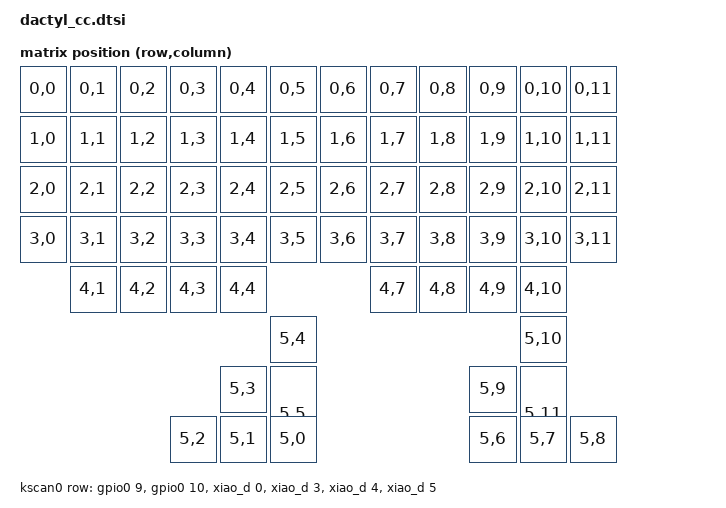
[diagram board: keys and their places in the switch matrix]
//#include <dt-bindings/zmk/matrix_transform.h>
//
/// {
//    chosen {
//        zmk,kscan = &kscan0;
//        zmk,matrix_transform = &default_transform;
//    };
//
//    default_transform: keymap_transform_0 {
//        compatible = "zmk,matrix-transform";
//        columns = <12>;
//        rows = <6>;
//// | MX1  | MX2  | MX3  | MX4  | MX5  | MX6  |                 | MX7  | MX8  | MX9  | MX10 | MX11 | MX12 |
//// | MX13 | MX14 | MX15 | MX16 | MX17 | MX18 |                 | MX19 | MX20 | MX21 | MX22 | MX23 | MX24 |
//// | MX25 | MX26 | MX27 | MX28 | MX29 | MX30 |                 | MX31 | MX32 | MX33 | MX34 | MX35 | MX36 |
//// | MX37 | MX38 | MX39 | MX40 | MX41 | MX42 |                 | MX43 | MX44 | MX45 | MX46 | MX47 | MX48 |
////        | MX49 | MX50 | MX51 | MX52 |                               | MX53 | MX54 | MX55 | MX56 |
////                                    | MX57 | MX58 |   | MX59 | MX60 |
////                                           | MX61 |   | MX62 |
////                             | MX63 | MX64 | MX65 |   | MX66 | MX67 | MX68 |
//        map = <
//RC(0,0) RC(0,1) RC(0,2) RC(0,3) RC(0,4) RC(0,5)                   RC(0,11) RC(0,10) RC(0,9) RC(0,8) RC(0,7) RC(0,6)
//RC(1,0) RC(1,1) RC(1,2) RC(1,3) RC(1,4) RC(1,5)                   RC(1,11) RC(1,10) RC(1,9) RC(1,8) RC(1,7) RC(1,6)
//RC(2,0) RC(2,1) RC(2,2) RC(2,3) RC(2,4) RC(2,5)                   RC(2,11) RC(2,10) RC(2,9) RC(2,8) RC(2,7) RC(2,6)
//RC(3,0) RC(3,1) RC(3,2) RC(3,3) RC(3,4) RC(3,5)                   RC(3,11) RC(3,10) RC(3,9) RC(3,8) RC(3,7) RC(3,6)
//        RC(4,1) RC(4,2) RC(4,3) RC(4,4)                                    RC(4,10) RC(4,9) RC(4,8) RC(4,7)
//                                        RC(5,4) RC(5,5)  RC(5,11) RC(5,10)
//                                                RC(5,3)  RC(5,9)
//                                RC(5,2) RC(5,1) RC(5,0)  RC(5,6)  RC(5,7) RC(5,8)
//        >;
//    };
//
//    kscan0: kscan {
//      compatible = "zmk,kscan-gpio-matrix";
//      wakeup-source;
//
//      diode-direction = "col2row";
//      row-gpios
//        = <&gpio0 9  (GPIO_ACTIVE_HIGH | GPIO_PULL_DOWN)>  // Row 0 — NFC1 pin as GPIO
//        , <&gpio0 10 (GPIO_ACTIVE_HIGH | GPIO_PULL_DOWN)>  // Row 1 — NFC2 pin as GPIO
//        , <&xiao_d 0 (GPIO_ACTIVE_HIGH | GPIO_PULL_DOWN)>  // Row 2 — D0
//        , <&xiao_d 3 (GPIO_ACTIVE_HIGH | GPIO_PULL_DOWN)>  // Row 3 — D3
//        , <&xiao_d 4 (GPIO_ACTIVE_HIGH | GPIO_PULL_DOWN)>  // Row 4 — D4
//        , <&xiao_d 5 (GPIO_ACTIVE_HIGH | GPIO_PULL_DOWN)>  // Row 5 — D5
//        ;
//    };
//};

#include <dt-bindings/zmk/matrix_transform.h>
#include <physical_layouts.dtsi>

/ {
    chosen {
        zmk,kscan = &kscan0;
        zmk,matrix_transform = &default_transform;
        zmk,physical-layout = &physical_layout0;
    };

    default_transform: keymap_transform_0 {
        compatible = "zmk,matrix-transform";
        columns = <12>;
        rows = <6>;
// | MX1  | MX2  | MX3  | MX4  | MX5  | MX6  |                 | MX7  | MX8  | MX9  | MX10 | MX11 | MX12 |
// | MX13 | MX14 | MX15 | MX16 | MX17 | MX18 |                 | MX19 | MX20 | MX21 | MX22 | MX23 | MX24 |
// | MX25 | MX26 | MX27 | MX28 | MX29 | MX30 |                 | MX31 | MX32 | MX33 | MX34 | MX35 | MX36 |
// | MX37 | MX38 | MX39 | MX40 | MX41 | MX42 |                 | MX43 | MX44 | MX45 | MX46 | MX47 | MX48 |
//        | MX49 | MX50 | MX51 | MX52 |                               | MX53 | MX54 | MX55 | MX56 |
//                                    | MX57 | MX58 |   | MX59 | MX60 |
//                                           | MX61 |   | MX62 |
//                             | MX63 | MX64 | MX65 |   | MX66 | MX67 | MX68 |
        map = <
RC(0,0) RC(0,1) RC(0,2) RC(0,3) RC(0,4) RC(0,5)                   RC(0,11) RC(0,10) RC(0,9) RC(0,8) RC(0,7) RC(0,6)
RC(1,0) RC(1,1) RC(1,2) RC(1,3) RC(1,4) RC(1,5)                   RC(1,11) RC(1,10) RC(1,9) RC(1,8) RC(1,7) RC(1,6)
RC(2,0) RC(2,1) RC(2,2) RC(2,3) RC(2,4) RC(2,5)                   RC(2,11) RC(2,10) RC(2,9) RC(2,8) RC(2,7) RC(2,6)
RC(3,0) RC(3,1) RC(3,2) RC(3,3) RC(3,4) RC(3,5)                   RC(3,11) RC(3,10) RC(3,9) RC(3,8) RC(3,7) RC(3,6)
        RC(4,1) RC(4,2) RC(4,3) RC(4,4)                                    RC(4,10) RC(4,9) RC(4,8) RC(4,7)
                                        RC(5,4) RC(5,5)  RC(5,11) RC(5,10)
                                                RC(5,3)  RC(5,9)
                                RC(5,2) RC(5,1) RC(5,0)  RC(5,6)  RC(5,7) RC(5,8)
        >;
    };

    kscan0: kscan {
        compatible = "zmk,kscan-gpio-matrix";
        wakeup-source;

        diode-direction = "col2row";
        row-gpios
            = <&gpio0 9  (GPIO_ACTIVE_HIGH | GPIO_PULL_DOWN)>  // Row 0 — NFC1 pin as GPIO
            , <&gpio0 10 (GPIO_ACTIVE_HIGH | GPIO_PULL_DOWN)>  // Row 1 — NFC2 pin as GPIO
            , <&xiao_d 0 (GPIO_ACTIVE_HIGH | GPIO_PULL_DOWN)>  // Row 2 — D0
            , <&xiao_d 3 (GPIO_ACTIVE_HIGH | GPIO_PULL_DOWN)>  // Row 3 — D3
            , <&xiao_d 4 (GPIO_ACTIVE_HIGH | GPIO_PULL_DOWN)>  // Row 4 — D4
            , <&xiao_d 5 (GPIO_ACTIVE_HIGH | GPIO_PULL_DOWN)>  // Row 5 — D5
            ;
    };

    physical_layout0: physical_layout_0 {
        compatible = "zmk,physical-layout";
        display-name = "Default Layout";
        transform = <&default_transform>;
        kscan = <&kscan0>;

        keys  //                     w    h      x     y    rot   rx   ry
            // Row 0 - Left (RC(0,0)–RC(0,5)) — L00 to L05
            = <&key_physical_attrs 100  100      0     0      0    0    0>  // L00
            , <&key_physical_attrs 100  100    100     0      0    0    0>  // L01
            , <&key_physical_attrs 100  100    200     0      0    0    0>  // L02
            , <&key_physical_attrs 100  100    300     0      0    0    0>  // L03
            , <&key_physical_attrs 100  100    400     0      0    0    0>  // L04
            , <&key_physical_attrs 100  100    500     0      0    0    0>  // L05
            // Row 0 - Right (RC(0,11)–RC(0,6)) — R00 to R05, mirrored
            , <&key_physical_attrs 100  100   1100     0      0    0    0>  // R00
            , <&key_physical_attrs 100  100   1000     0      0    0    0>  // R01
            , <&key_physical_attrs 100  100    900     0      0    0    0>  // R02
            , <&key_physical_attrs 100  100    800     0      0    0    0>  // R03
            , <&key_physical_attrs 100  100    700     0      0    0    0>  // R04
            , <&key_physical_attrs 100  100    600     0      0    0    0>  // R05
            // Row 1 - Left (RC(1,0)–RC(1,5))
            , <&key_physical_attrs 100  100      0   100      0    0    0>  // L10
            , <&key_physical_attrs 100  100    100   100      0    0    0>  // L11
            , <&key_physical_attrs 100  100    200   100      0    0    0>  // L12
            , <&key_physical_attrs 100  100    300   100      0    0    0>  // L13
            , <&key_physical_attrs 100  100    400   100      0    0    0>  // L14
            , <&key_physical_attrs 100  100    500   100      0    0    0>  // L15
            // Row 1 - Right (RC(1,11)–RC(1,6))
            , <&key_physical_attrs 100  100   1100   100      0    0    0>  // R10
            , <&key_physical_attrs 100  100   1000   100      0    0    0>  // R11
            , <&key_physical_attrs 100  100    900   100      0    0    0>  // R12
            , <&key_physical_attrs 100  100    800   100      0    0    0>  // R13
            , <&key_physical_attrs 100  100    700   100      0    0    0>  // R14
            , <&key_physical_attrs 100  100    600   100      0    0    0>  // R15
            // Row 2 - Left (RC(2,0)–RC(2,5))
            , <&key_physical_attrs 100  100      0   200      0    0    0>  // L20
            , <&key_physical_attrs 100  100    100   200      0    0    0>  // L21
            , <&key_physical_attrs 100  100    200   200      0    0    0>  // L22
            , <&key_physical_attrs 100  100    300   200      0    0    0>  // L23
            , <&key_physical_attrs 100  100    400   200      0    0    0>  // L24
            , <&key_physical_attrs 100  100    500   200      0    0    0>  // L25
            // Row 2 - Right (RC(2,11)–RC(2,6))
            , <&key_physical_attrs 100  100   1100   200      0    0    0>  // R20
            , <&key_physical_attrs 100  100   1000   200      0    0    0>  // R21
            , <&key_physical_attrs 100  100    900   200      0    0    0>  // R22
            , <&key_physical_attrs 100  100    800   200      0    0    0>  // R23
            , <&key_physical_attrs 100  100    700   200      0    0    0>  // R24
            , <&key_physical_attrs 100  100    600   200      0    0    0>  // R25
            // Row 3 - Left (RC(3,0)–RC(3,5))
            , <&key_physical_attrs 100  100      0   300      0    0    0>  // L30
            , <&key_physical_attrs 100  100    100   300      0    0    0>  // L31
            , <&key_physical_attrs 100  100    200   300      0    0    0>  // L32
            , <&key_physical_attrs 100  100    300   300      0    0    0>  // L33
            , <&key_physical_attrs 100  100    400   300      0    0    0>  // L34
            , <&key_physical_attrs 100  100    500   300      0    0    0>  // L35
            // Row 3 - Right (RC(3,11)–RC(3,6))
            , <&key_physical_attrs 100  100   1100   300      0    0    0>  // R30
            , <&key_physical_attrs 100  100   1000   300      0    0    0>  // R31
            , <&key_physical_attrs 100  100    900   300      0    0    0>  // R32
            , <&key_physical_attrs 100  100    800   300      0    0    0>  // R33
            , <&key_physical_attrs 100  100    700   300      0    0    0>  // R34
            , <&key_physical_attrs 100  100    600   300      0    0    0>  // R35
            // Row 4 - Left (RC(4,1)–RC(4,4)) — note: no col0 on this row
            , <&key_physical_attrs 100  100    100   400      0    0    0>  // L41
            , <&key_physical_attrs 100  100    200   400      0    0    0>  // L42
            , <&key_physical_attrs 100  100    300   400      0    0    0>  // L43
            , <&key_physical_attrs 100  100    400   400      0    0    0>  // L44
            // Row 4 - Right (RC(4,10)–RC(4,7)) — note: no col11 on this row
            , <&key_physical_attrs 100  100   1000   400      0    0    0>  // R41
            , <&key_physical_attrs 100  100    900   400      0    0    0>  // R42
            , <&key_physical_attrs 100  100    800   400      0    0    0>  // R43
            , <&key_physical_attrs 100  100    700   400      0    0    0>  // R44
            // Row 5 thumbs: RC(5,4) RC(5,5) RC(5,11) RC(5,10)
            , <&key_physical_attrs 100  100    500   500      0    0    0>  // MX57 RC(5,4)
            , <&key_physical_attrs 100  200    500   600      0    0    0>  // MX58 RC(5,5) — h:2
            , <&key_physical_attrs 100  200   1000   600      0    0    0>  // MX59 RC(5,11) — h:2
            , <&key_physical_attrs 100  100   1000   500      0    0    0>  // MX60 RC(5,10)
            // RC(5,3) RC(5,9)
            , <&key_physical_attrs 100  100    400   600      0    0    0>  // MX61 RC(5,3)
            , <&key_physical_attrs 100  100    900   600      0    0    0>  // MX62 RC(5,9)
            // RC(5,2) RC(5,1) RC(5,0) RC(5,6) RC(5,7) RC(5,8)
            , <&key_physical_attrs 100  100    300   700      0    0    0>  // MX63 RC(5,2)
            , <&key_physical_attrs 100  100    400   700      0    0    0>  // MX64 RC(5,1)
            , <&key_physical_attrs 100  100    500   700      0    0    0>  // MX65 RC(5,0)
            , <&key_physical_attrs 100  100    900   700      0    0    0>  // MX66 RC(5,6)
            , <&key_physical_attrs 100  100   1000   700      0    0    0>  // MX67 RC(5,7)
            , <&key_physical_attrs 100  100   1100   700      0    0    0>  // MX68 RC(5,8)
            ;
    };
};
